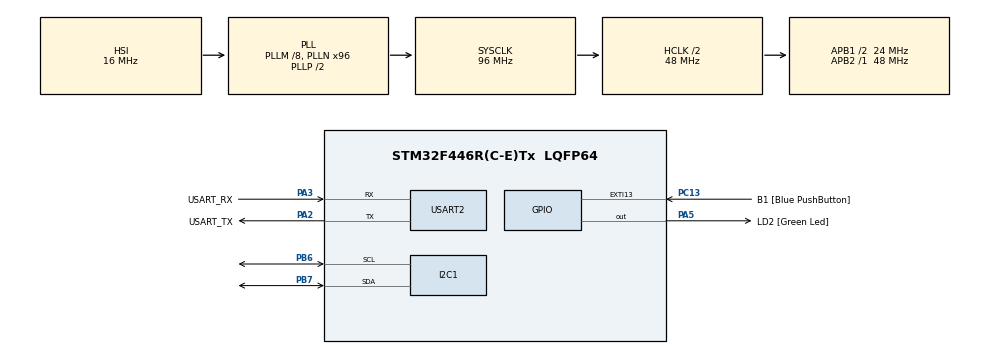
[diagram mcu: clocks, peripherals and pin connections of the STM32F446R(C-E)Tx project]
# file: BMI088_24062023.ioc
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Mcu.Family=STM32F4
Mcu.Name=STM32F446R(C-E)Tx
Mcu.Package=LQFP64
NVIC.PriorityGroup=NVIC_PRIORITYGROUP_4
PA13.GPIO_Label=TMS
PA13.Mode=Trace_Asynchronous_SW
PA13.Signal=SYS_JTMS-SWDIO
PA14.GPIO_Label=TCK
PA14.Mode=Trace_Asynchronous_SW
PA14.Signal=SYS_JTCK-SWCLK
PA2.GPIO_Label=USART_TX
PA2.Mode=Asynchronous
PA2.Signal=USART2_TX
PA3.GPIO_Label=USART_RX
PA3.Mode=Asynchronous
PA3.Signal=USART2_RX
PA5.GPIO_Label=LD2 [Green Led]
PA5.Signal=GPIO_Output
PB3.GPIO_Label=SWO
PB3.Mode=Trace_Asynchronous_SW
PB3.Signal=SYS_JTDO-SWO
PB6.Mode=I2C
PB6.Signal=I2C1_SCL
PB7.Mode=I2C
PB7.Signal=I2C1_SDA
PC13.GPIO_Label=B1 [Blue PushButton]
PC13.GPIO_ModeDefaultEXTI=GPIO_MODE_IT_FALLING
PC13.Signal=GPXTI13
PC14-OSC32_IN.Mode=LSE-External-Oscillator
PC14-OSC32_IN.Signal=RCC_OSC32_IN
PC15-OSC32_OUT.Mode=LSE-External-Oscillator
PC15-OSC32_OUT.Signal=RCC_OSC32_OUT
PH0-OSC_IN.Mode=HSE-External-Oscillator
PH0-OSC_IN.Signal=RCC_OSC_IN
PH1-OSC_OUT.Mode=HSE-External-Oscillator
PH1-OSC_OUT.Signal=RCC_OSC_OUT
ProjectManager.HeapSize=0x200
ProjectManager.StackSize=0x400
ProjectManager.TargetToolchain=STM32CubeIDE
RCC.48MHZClocksFreq_Value=84000000
RCC.AHBCLKDivider=RCC_SYSCLK_DIV2
RCC.AHBFreq_Value=48000000
RCC.APB1CLKDivider=RCC_HCLK_DIV2
RCC.APB1Freq_Value=24000000
RCC.APB1TimFreq_Value=48000000
RCC.APB2Freq_Value=48000000
RCC.APB2TimFreq_Value=48000000
RCC.CortexFreq_Value=48000000
RCC.FLatency-AdvancedSettings=FLASH_LATENCY_1
RCC.HCLKFreq_Value=48000000
RCC.HSE_VALUE=8000000
RCC.HSI_VALUE=16000000
RCC.PLLM=8
RCC.PLLN=96
RCC.SYSCLKFreq_VALUE=96000000
RCC.SYSCLKSource=RCC_SYSCLKSOURCE_PLLCLK
RCC.USBFreq_Value=96000000
RCC.VCOOutputFreq_Value=192000000
TIM1.Period=0xfffe
TIM1.Prescaler=47
USART2.VirtualMode=VM_ASYNC
VP_TIM1_VS_ClockSourceINT.Mode=Internal
board=NUCLEO-F446RE

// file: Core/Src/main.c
/* USER CODE BEGIN Header */
/**
  ******************************************************************************
  * @file           : main.c
  * @brief          : Main program body
  ******************************************************************************
  * @attention
  *
  * Copyright (c) 2023 STMicroelectronics.
  * All rights reserved.
  *
  * This software is licensed under terms that can be found in the LICENSE file
  * in the root directory of this software component.
  * If no LICENSE file comes with this software, it is provided AS-IS.
  *
  ******************************************************************************
  */
/* USER CODE END Header */
#include "main.h"

/* USER CODE BEGIN Includes */
#include "bmi08x.h"
/* USER CODE END Includes */

/* USER CODE BEGIN PM */
/*! Earth's gravity in m/s^2 */
#define GRAVITY_EARTH  (9.80665f)
/* USER CODE END PM */

I2C_HandleTypeDef hi2c1;

TIM_HandleTypeDef htim1;

UART_HandleTypeDef huart2;

/* USER CODE BEGIN PV */
/*! @brief This structure containing relevant bmi08 info */
struct bmi08_dev bmi08dev;

/*! @brief variable to hold the bmi08 accel data */
struct bmi08_sensor_data bmi08_accel;

/*! @brief variable to hold the bmi08 gyro data */
struct bmi08_sensor_data bmi08_gyro;

/*! bmi08 accel int config */
struct bmi08_accel_int_channel_cfg accel_int_config;

/*! bmi08 gyro int config */
struct bmi08_gyro_int_channel_cfg gyro_int_config;

/* USER CODE END PV */

void SystemClock_Config(void);
static void MX_GPIO_Init(void);
static void MX_USART2_UART_Init(void);
static void MX_I2C1_Init(void);
static void MX_TIM1_Init(void);
/* USER CODE BEGIN PFP */
/*!
 *  @brief This internal function converts lsb to meter per second squared for 16 bit accelerometer for
 *  range 2G, 4G, 8G or 16G.
 *
 *  @param[in] val       : LSB from each axis.
 *  @param[in] g_range   : Gravity range.
 *  @param[in] bit_width : Resolution for accel.
 *
 *  @return Accel values in meter per second square.
 */
static float lsb_to_mps2(int16_t val, int8_t g_range, uint8_t bit_width);

/*!
 *  @brief This function converts lsb to degree per second for 16 bit gyro at
 *  range 125, 250, 500, 1000 or 2000dps.
 *
 *  @param[in] val       : LSB from each axis.
 *  @param[in] dps       : Degree per second.
 *  @param[in] bit_width : Resolution for gyro.
 *
 *  @return Degree per second.
 */
static float lsb_to_dps(int16_t val, float dps, uint8_t bit_width);

/*!
 * @brief    This internal API is used to initialize the bmi08 sensor with default
 */
static int8_t init_bmi08(void);

/* USER CODE END PFP */

/* USER CODE BEGIN 0 */
/*!
 *  @brief This internal API is used to initializes the bmi08 sensor
 *  settings like power mode and OSRS settings.
 *
 *  @param[in] void
 *
 *  @return void
 *
 */
static int8_t init_bmi08(void)
{
    int8_t rslt;

    rslt = bmi08xa_init(&bmi08dev);
    bmi08_error_codes_print_result("bmi08xa_init", rslt);

    if (rslt == BMI08_OK)
    {
        rslt = bmi08g_init(&bmi08dev);
        bmi08_error_codes_print_result("bmi08g_init", rslt);
    }

    if (rslt == BMI08_OK)
    {
        printf("Uploading config file !\n");
        rslt = bmi08a_load_config_file(&bmi08dev);
        bmi08_error_codes_print_result("bmi08a_load_config_file", rslt);
    }

    if (rslt == BMI08_OK)
    {
        bmi08dev.accel_cfg.odr = BMI08_ACCEL_ODR_1600_HZ;

        if (bmi08dev.variant == BMI085_VARIANT)
        {
            bmi08dev.accel_cfg.range = BMI085_ACCEL_RANGE_16G;
        }
        else if (bmi08dev.variant == BMI088_VARIANT)
        {
            bmi08dev.accel_cfg.range = BMI088_ACCEL_RANGE_24G;
        }

        bmi08dev.accel_cfg.power = BMI08_ACCEL_PM_ACTIVE; /*user_accel_power_modes[user_bmi088_accel_low_power]; */
        bmi08dev.accel_cfg.bw = BMI08_ACCEL_BW_NORMAL; /* Bandwidth and OSR are same */

        rslt = bmi08a_set_power_mode(&bmi08dev);
        bmi08_error_codes_print_result("bmi08a_set_power_mode", rslt);

        rslt = bmi08xa_set_meas_conf(&bmi08dev);
        bmi08_error_codes_print_result("bmi08xa_set_meas_conf", rslt);

        bmi08dev.gyro_cfg.odr = BMI08_GYRO_BW_230_ODR_2000_HZ;
        bmi08dev.gyro_cfg.range = BMI08_GYRO_RANGE_250_DPS;
        bmi08dev.gyro_cfg.bw = BMI08_GYRO_BW_230_ODR_2000_HZ;
        bmi08dev.gyro_cfg.power = BMI08_GYRO_PM_NORMAL;

        rslt = bmi08g_set_power_mode(&bmi08dev);
        bmi08_error_codes_print_result("bmi08g_set_power_mode", rslt);

        rslt = bmi08g_set_meas_conf(&bmi08dev);
        bmi08_error_codes_print_result("bmi08g_set_meas_conf", rslt);
    }

    return rslt;

}

/*!
 *  @brief This API is used to enable bmi08 interrupt
 *
 *  @param[in] void
 *
 *  @return void
 *
 */
static int8_t enable_bmi08_interrupt()
{
    int8_t rslt;
    uint8_t data = 0;

    /* Set accel interrupt pin configuration */
    accel_int_config.int_channel = BMI08_INT_CHANNEL_1;
    accel_int_config.int_type = BMI08_ACCEL_INT_DATA_RDY;
    accel_int_config.int_pin_cfg.output_mode = BMI08_INT_MODE_PUSH_PULL;
    accel_int_config.int_pin_cfg.lvl = BMI08_INT_ACTIVE_HIGH;
    accel_int_config.int_pin_cfg.enable_int_pin = BMI08_ENABLE;

    /* Enable accel data ready interrupt channel */
    rslt = bmi08a_set_int_config((const struct bmi08_accel_int_channel_cfg*)&accel_int_config, &bmi08dev);
    bmi08_error_codes_print_result("bmi08a_set_int_config", rslt);

    if (rslt == BMI08_OK)
    {
        /* Set gyro interrupt pin configuration */
        gyro_int_config.int_channel = BMI08_INT_CHANNEL_3;
        gyro_int_config.int_type = BMI08_GYRO_INT_DATA_RDY;
        gyro_int_config.int_pin_cfg.output_mode = BMI08_INT_MODE_PUSH_PULL;
        gyro_int_config.int_pin_cfg.lvl = BMI08_INT_ACTIVE_HIGH;
        gyro_int_config.int_pin_cfg.enable_int_pin = BMI08_ENABLE;

        /* Enable gyro data ready interrupt channel */
        rslt = bmi08g_set_int_config((const struct bmi08_gyro_int_channel_cfg *)&gyro_int_config, &bmi08dev);
        bmi08_error_codes_print_result("bmi08g_set_int_config", rslt);

        rslt = bmi08g_get_regs(BMI08_REG_GYRO_INT3_INT4_IO_MAP, &data, 1, &bmi08dev);
        bmi08_error_codes_print_result("bmi08g_get_regs", rslt);
    }

    return rslt;
}

/*!
 *  @brief This API is used to disable bmi08 interrupt
 *
 *  @param[in] void
 *
 *  @return void
 *
 */
static int8_t disable_bmi08_interrupt()
{
    int8_t rslt;

    /* Set accel interrupt pin configuration */
    accel_int_config.int_channel = BMI08_INT_CHANNEL_1;
    accel_int_config.int_type = BMI08_ACCEL_INT_DATA_RDY;
    accel_int_config.int_pin_cfg.output_mode = BMI08_INT_MODE_PUSH_PULL;
    accel_int_config.int_pin_cfg.lvl = BMI08_INT_ACTIVE_HIGH;
    accel_int_config.int_pin_cfg.enable_int_pin = BMI08_DISABLE;

    /* Disable accel data ready interrupt channel */
    rslt = bmi08a_set_int_config((const struct bmi08_accel_int_channel_cfg*)&accel_int_config, &bmi08dev);
    bmi08_error_codes_print_result("bmi08a_set_int_config", rslt);

    if (rslt == BMI08_OK)
    {
        /* Set gyro interrupt pin configuration */
        gyro_int_config.int_channel = BMI08_INT_CHANNEL_3;
        gyro_int_config.int_type = BMI08_GYRO_INT_DATA_RDY;
        gyro_int_config.int_pin_cfg.output_mode = BMI08_INT_MODE_PUSH_PULL;
        gyro_int_config.int_pin_cfg.lvl = BMI08_INT_ACTIVE_HIGH;
        gyro_int_config.int_pin_cfg.enable_int_pin = BMI08_DISABLE;

        /* Disable gyro data ready interrupt channel */
        rslt = bmi08g_set_int_config((const struct bmi08_gyro_int_channel_cfg *)&gyro_int_config, &bmi08dev);
        bmi08_error_codes_print_result("bmi08g_set_int_config", rslt);
    }

    return rslt;
}

/*!
 * @brief This function converts lsb to meter per second squared for 16 bit accelerometer at
 * range 2G, 4G, 8G or 16G.
 */
static float lsb_to_mps2(int16_t val, int8_t g_range, uint8_t bit_width)
{
    double power = 2;

    float half_scale = (float)((pow((double)power, (double)bit_width) / 2.0f));

    return (GRAVITY_EARTH * val * g_range) / half_scale;
}

/*!
 * @brief This function converts lsb to degree per second for 16 bit gyro at
 * range 125, 250, 500, 1000 or 2000dps.
 */
static float lsb_to_dps(int16_t val, float dps, uint8_t bit_width)
{
    double power = 2;

    float half_scale = (float)((pow((double)power, (double)bit_width) / 2.0f));

    return (dps / (half_scale)) * (val);
}

/* USER CODE END 0 */

int main(void)
{

  /* MCU Configuration--------------------------------------------------------*/

  /* Reset of all peripherals, Initializes the Flash interface and the Systick. */
  HAL_Init();

  /* Configure the system clock */
  SystemClock_Config();

  /* Initialize all configured peripherals */
  MX_GPIO_Init();
  MX_USART2_UART_Init();
  MX_I2C1_Init();
  MX_TIM1_Init();
  /* USER CODE BEGIN 2 */

  uint8_t rval = 1;
  uint8_t rstatus = 0;
  rstatus = HAL_I2C_Mem_Read(&hi2c1, 0x68, 0x0, 1, &rval, 1, HAL_MAX_DELAY);

  rstatus = HAL_I2C_Mem_Read(&hi2c1, 0x18, 0x0, 1, &rval, 1, HAL_MAX_DELAY);

  int8_t rslt;

    uint8_t times_to_read = 0;
    float x = 0.0, y = 0.0, z = 0.0;
    uint8_t status = 0;

    /* Interface given as parameter
     *           For I2C : BMI08_I2C_INTF
     *           For SPI : BMI08_SPI_INTF
     * Sensor variant given as parameter
     *          For BMI085 : BMI085_VARIANT
     *          For BMI088 : BMI088_VARIANT
     */
    rslt = bmi08_interface_init(&bmi08dev, BMI08_I2C_INTF, BMI088_VARIANT);
    bmi08_error_codes_print_result("bmi08_interface_init", rslt);

    if (rslt == BMI08_OK)
    {
        rslt = init_bmi08();
        bmi08_error_codes_print_result("init_bmi08", rslt);

        /* Enable data ready interrupts */
        rslt = enable_bmi08_interrupt();
        bmi08_error_codes_print_result("enable_bmi08_interrupt", rslt);

        if (rslt == BMI08_OK)
        {
            if (bmi08dev.accel_cfg.power == BMI08_ACCEL_PM_ACTIVE)
            {
                printf("\nACCEL DATA\n");
                printf("Accel data in LSB units and Gravity data in m/s^2\n");
                printf("Accel data range : 16G for BMI085 and 24G for BMI088\n\n");

                printf("Sample_Count, Acc_Raw_X, Acc_Raw_Y, Acc_Raw_Z, Acc_ms2_X, Acc_ms2_Y, Acc_ms2_Z\n");

                while (times_to_read < 10)
                {
                    rslt = bmi08a_get_data_int_status(&status, &bmi08dev);
                    bmi08_error_codes_print_result("bmi08a_get_data_int_status", rslt);

                    if (status & BMI08_ACCEL_DATA_READY_INT)
                    {
                        rslt = bmi08a_get_data(&bmi08_accel, &bmi08dev);
                        bmi08_error_codes_print_result("bmi08a_get_data", rslt);

                        if (bmi08dev.variant == BMI085_VARIANT)
                        {
                            /* Converting lsb to meter per second squared for 16 bit accelerometer at 16G range. */
                            x = lsb_to_mps2(bmi08_accel.x, 16, 16);
                            y = lsb_to_mps2(bmi08_accel.y, 16, 16);
                            z = lsb_to_mps2(bmi08_accel.z, 16, 16);
                        }
                        else if (bmi08dev.variant == BMI088_VARIANT)
                        {
                            /* Converting lsb to meter per second squared for 16 bit accelerometer at 24G range. */
                            x = lsb_to_mps2(bmi08_accel.x, 24, 16);
                            y = lsb_to_mps2(bmi08_accel.y, 24, 16);
                            z = lsb_to_mps2(bmi08_accel.z, 24, 16);
                        }

                        printf("%d, %5d, %5d, %5d, %4.2f, %4.2f, %4.2f\n",
                               times_to_read,
                               bmi08_accel.x,
                               bmi08_accel.y,
                               bmi08_accel.z,
                               x,
                               y,
                               z);

                        times_to_read = times_to_read + 1;
                    }
                }
            }

            if (bmi08dev.gyro_cfg.power == BMI08_GYRO_PM_NORMAL)
            {
                times_to_read = 0;

                printf("\n\nGYRO DATA\n");
                printf("Gyro data in LSB units and degrees per second\n");
                printf("Gyro data range : 250 dps for BMI085 and BMI088\n\n");

                printf("Sample_Count, Gyr_Raw_X, Gyr_Raw_Y, Gyr_Raw_Z, Gyr_DPS_X, Gyr_DPS_Y, Gyr_DPS_Z\n");

                while (times_to_read < 10)
                {
                    rslt = bmi08g_get_data_int_status(&status, &bmi08dev);
                    bmi08_error_codes_print_result("bmi08g_get_data_int_status", rslt);

                    if (status & BMI08_GYRO_DATA_READY_INT)
                    {
                        rslt = bmi08g_get_data(&bmi08_gyro, &bmi08dev);
                        bmi08_error_codes_print_result("bmi08g_get_data", rslt);

                        /* Converting lsb to degree per second for 16 bit gyro at 250 dps range. */
                        x = lsb_to_dps(bmi08_gyro.x, (float)250, 16);
                        y = lsb_to_dps(bmi08_gyro.y, (float)250, 16);
                        z = lsb_to_dps(bmi08_gyro.z, (float)250, 16);

                        printf("%d, %5d, %5d, %5d, %4.2f, %4.2f, %4.2f\n",
                               times_to_read,
                               bmi08_gyro.x,
                               bmi08_gyro.y,
                               bmi08_gyro.z,
                               x,
                               y,
                               z);

                        times_to_read = times_to_read + 1;
                    }
                }
            }
        }

        /* Disable data ready interrupts */
        rslt = disable_bmi08_interrupt();
        bmi08_error_codes_print_result("disable_bmi08_interrupt", rslt);
    }

    bmi08_coines_deinit();

    return rslt;
  /* USER CODE END 2 */

  /* Infinite loop */
  while (1)
  {

  }
}

void SystemClock_Config(void)
{
  RCC_OscInitTypeDef RCC_OscInitStruct = {0};
  RCC_ClkInitTypeDef RCC_ClkInitStruct = {0};

  /** Configure the main internal regulator output voltage
  */
  __HAL_RCC_PWR_CLK_ENABLE();
  __HAL_PWR_VOLTAGESCALING_CONFIG(PWR_REGULATOR_VOLTAGE_SCALE3);

  /** Initializes the RCC Oscillators according to the specified parameters
  * in the RCC_OscInitTypeDef structure.
  */
  RCC_OscInitStruct.OscillatorType = RCC_OSCILLATORTYPE_HSI;
  RCC_OscInitStruct.HSIState = RCC_HSI_ON;
  RCC_OscInitStruct.HSICalibrationValue = RCC_HSICALIBRATION_DEFAULT;
  RCC_OscInitStruct.PLL.PLLState = RCC_PLL_ON;
  RCC_OscInitStruct.PLL.PLLSource = RCC_PLLSOURCE_HSI;
  RCC_OscInitStruct.PLL.PLLM = 8;
  RCC_OscInitStruct.PLL.PLLN = 96;
  RCC_OscInitStruct.PLL.PLLP = RCC_PLLP_DIV2;
  RCC_OscInitStruct.PLL.PLLQ = 2;
  RCC_OscInitStruct.PLL.PLLR = 2;
  if (HAL_RCC_OscConfig(&RCC_OscInitStruct) != HAL_OK)
  {
    Error_Handler();
  }

  /** Initializes the CPU, AHB and APB buses clocks
  */
  RCC_ClkInitStruct.ClockType = RCC_CLOCKTYPE_HCLK|RCC_CLOCKTYPE_SYSCLK
                              |RCC_CLOCKTYPE_PCLK1|RCC_CLOCKTYPE_PCLK2;
  RCC_ClkInitStruct.SYSCLKSource = RCC_SYSCLKSOURCE_PLLCLK;
  RCC_ClkInitStruct.AHBCLKDivider = RCC_SYSCLK_DIV2;
  RCC_ClkInitStruct.APB1CLKDivider = RCC_HCLK_DIV2;
  RCC_ClkInitStruct.APB2CLKDivider = RCC_HCLK_DIV1;

  if (HAL_RCC_ClockConfig(&RCC_ClkInitStruct, FLASH_LATENCY_1) != HAL_OK)
  {
    Error_Handler();
  }
}

static void MX_I2C1_Init(void)
{

  hi2c1.Instance = I2C1;
  hi2c1.Init.ClockSpeed = 100000;
  hi2c1.Init.DutyCycle = I2C_DUTYCYCLE_2;
  hi2c1.Init.OwnAddress1 = 0;
  hi2c1.Init.AddressingMode = I2C_ADDRESSINGMODE_7BIT;
  hi2c1.Init.DualAddressMode = I2C_DUALADDRESS_DISABLE;
  hi2c1.Init.OwnAddress2 = 0;
  hi2c1.Init.GeneralCallMode = I2C_GENERALCALL_DISABLE;
  hi2c1.Init.NoStretchMode = I2C_NOSTRETCH_DISABLE;
  if (HAL_I2C_Init(&hi2c1) != HAL_OK)
  {
    Error_Handler();
  }

}

static void MX_TIM1_Init(void)
{

  TIM_ClockConfigTypeDef sClockSourceConfig = {0};
  TIM_MasterConfigTypeDef sMasterConfig = {0};

  htim1.Instance = TIM1;
  htim1.Init.Prescaler = 47;
  htim1.Init.CounterMode = TIM_COUNTERMODE_UP;
  htim1.Init.Period = 0xfffe;
  htim1.Init.ClockDivision = TIM_CLOCKDIVISION_DIV1;
  htim1.Init.RepetitionCounter = 0;
  htim1.Init.AutoReloadPreload = TIM_AUTORELOAD_PRELOAD_DISABLE;
  if (HAL_TIM_Base_Init(&htim1) != HAL_OK)
  {
    Error_Handler();
  }
  sClockSourceConfig.ClockSource = TIM_CLOCKSOURCE_INTERNAL;
  if (HAL_TIM_ConfigClockSource(&htim1, &sClockSourceConfig) != HAL_OK)
  {
    Error_Handler();
  }
  sMasterConfig.MasterOutputTrigger = TIM_TRGO_RESET;
  sMasterConfig.MasterSlaveMode = TIM_MASTERSLAVEMODE_DISABLE;
  if (HAL_TIMEx_MasterConfigSynchronization(&htim1, &sMasterConfig) != HAL_OK)
  {
    Error_Handler();
  }

}

static void MX_USART2_UART_Init(void)
{

  huart2.Instance = USART2;
  huart2.Init.BaudRate = 115200;
  huart2.Init.WordLength = UART_WORDLENGTH_8B;
  huart2.Init.StopBits = UART_STOPBITS_1;
  huart2.Init.Parity = UART_PARITY_NONE;
  huart2.Init.Mode = UART_MODE_TX_RX;
  huart2.Init.HwFlowCtl = UART_HWCONTROL_NONE;
  huart2.Init.OverSampling = UART_OVERSAMPLING_16;
  if (HAL_UART_Init(&huart2) != HAL_OK)
  {
    Error_Handler();
  }

}

static void MX_GPIO_Init(void)
{
  GPIO_InitTypeDef GPIO_InitStruct = {0};

  /* GPIO Ports Clock Enable */
  __HAL_RCC_GPIOC_CLK_ENABLE();
  __HAL_RCC_GPIOH_CLK_ENABLE();
  __HAL_RCC_GPIOA_CLK_ENABLE();
  __HAL_RCC_GPIOB_CLK_ENABLE();

  /*Configure GPIO pin Output Level */
  HAL_GPIO_WritePin(LD2_GPIO_Port, LD2_Pin, GPIO_PIN_RESET);

  /*Configure GPIO pin : B1_Pin */
  GPIO_InitStruct.Pin = B1_Pin;
  GPIO_InitStruct.Mode = GPIO_MODE_IT_FALLING;
  GPIO_InitStruct.Pull = GPIO_NOPULL;
  HAL_GPIO_Init(B1_GPIO_Port, &GPIO_InitStruct);

  /*Configure GPIO pin : LD2_Pin */
  GPIO_InitStruct.Pin = LD2_Pin;
  GPIO_InitStruct.Mode = GPIO_MODE_OUTPUT_PP;
  GPIO_InitStruct.Pull = GPIO_NOPULL;
  GPIO_InitStruct.Speed = GPIO_SPEED_FREQ_LOW;
  HAL_GPIO_Init(LD2_GPIO_Port, &GPIO_InitStruct);

}

/* USER CODE BEGIN 4 */
int _write(int file, char *ptr, int len) {
	int DataIdx;

	for (DataIdx = 0; DataIdx < len; DataIdx++) {
		ITM_SendChar(*ptr++);
	}
	return len;
}
/* USER CODE END 4 */

void Error_Handler(void)
{
  __disable_irq();
  while (1)
  {
  }
}
